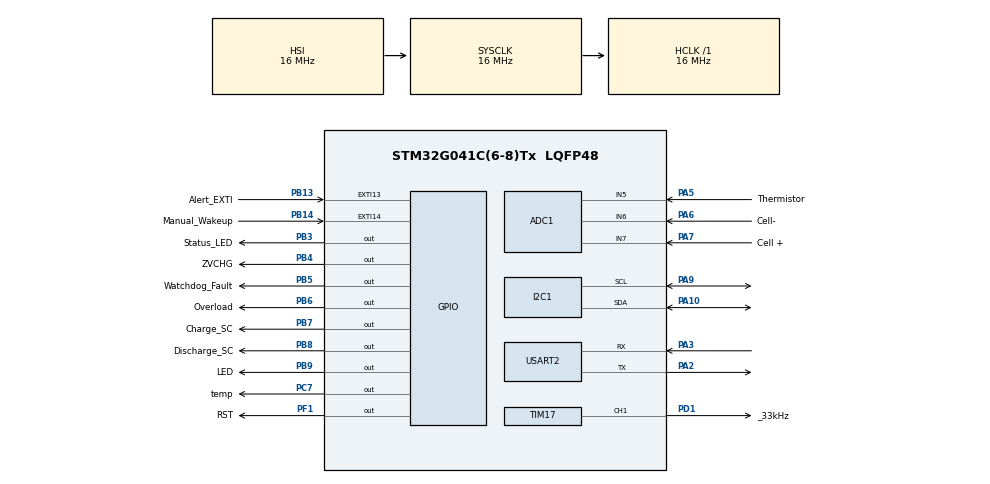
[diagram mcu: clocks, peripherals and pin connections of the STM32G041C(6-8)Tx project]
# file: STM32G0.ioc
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ADC1.Channel-3\#ChannelRegularConversion=ADC_CHANNEL_5
ADC1.Channel-4\#ChannelRegularConversion=ADC_CHANNEL_6
ADC1.Channel-5\#ChannelRegularConversion=ADC_CHANNEL_7
ADC1.NbrOfConversion=3
ADC1.NbrOfConversionFlag=1
ADC1.Rank-3\#ChannelRegularConversion=1
ADC1.Rank-4\#ChannelRegularConversion=2
ADC1.Rank-5\#ChannelRegularConversion=3
ADC1.SamplingTime-3\#ChannelRegularConversion=ADC_SAMPLINGTIME_COMMON_1
ADC1.SamplingTime-4\#ChannelRegularConversion=ADC_SAMPLINGTIME_COMMON_1
ADC1.SamplingTime-5\#ChannelRegularConversion=ADC_SAMPLINGTIME_COMMON_1
ADC1.SelectedChannel=ADC_CHANNEL_5|ADC_CHANNEL_6|ADC_CHANNEL_7
ADC1.master=1
Dma.ADC1.0.Direction=DMA_PERIPH_TO_MEMORY
Dma.ADC1.0.EventEnable=DISABLE
Dma.ADC1.0.Instance=DMA1_Channel1
Dma.ADC1.0.MemDataAlignment=DMA_MDATAALIGN_HALFWORD
Dma.ADC1.0.MemInc=DMA_MINC_ENABLE
Dma.ADC1.0.Mode=DMA_NORMAL
Dma.ADC1.0.PeriphDataAlignment=DMA_PDATAALIGN_HALFWORD
Dma.ADC1.0.PeriphInc=DMA_PINC_DISABLE
Dma.ADC1.0.Polarity=HAL_DMAMUX_REQ_GEN_RISING
Dma.ADC1.0.Priority=DMA_PRIORITY_LOW
Dma.ADC1.0.RequestNumber=1
Dma.ADC1.0.SignalID=NONE
Dma.ADC1.0.SyncEnable=DISABLE
Dma.ADC1.0.SyncPolarity=HAL_DMAMUX_SYNC_NO_EVENT
Dma.ADC1.0.SyncRequestNumber=1
Dma.ADC1.0.SyncSignalID=NONE
Dma.Request0=ADC1
I2C1.Timing=0x00503D58
Mcu.Family=STM32G0
Mcu.Name=STM32G041C(6-8)Tx
Mcu.Package=LQFP48
NVIC.DMA1_Channel1_IRQn=true\:0\:0\:false\:false\:true\:false\:true\:true
NVIC.EXTI4_15_IRQn=true\:0\:0\:false\:false\:true\:true\:true\:true
PA10.Mode=SMBus-two-wire-Interface
PA10.Signal=I2C1_SDA
PA2.Mode=Asynchronous
PA2.Signal=USART2_TX
PA3.Mode=Asynchronous
PA3.Signal=USART2_RX
PA5.GPIO_Label=Thermistor
PA5.Mode=IN5
PA5.Signal=ADC1_IN5
PA6.GPIO_Label=Cell-
PA6.Mode=IN6
PA6.Signal=ADC1_IN6
PA7.GPIO_Label=Cell +
PA7.Mode=IN7
PA7.Signal=ADC1_IN7
PA9.Mode=SMBus-two-wire-Interface
PA9.Signal=I2C1_SCL
PB13.GPIO_Label=Alert_EXTI
PB13.GPIO_ModeDefaultEXTI=GPIO_MODE_IT_FALLING
PB13.Signal=GPXTI13
PB14.GPIO_Label=Manual_Wakeup
PB14.Signal=GPXTI14
PB3.GPIO_Label=Status_LED
PB3.Signal=GPIO_Output
PB4.GPIO_Label=ZVCHG
PB4.Signal=GPIO_Output
PB5.GPIO_Label=Watchdog_Fault
PB5.Signal=GPIO_Output
PB6.GPIO_Label=Overload
PB6.Signal=GPIO_Output
PB7.GPIO_Label=Charge_SC
PB7.Signal=GPIO_Output
PB8.GPIO_Label=Discharge_SC
PB8.Signal=GPIO_Output
PB9.GPIO_Label=LED
PB9.Signal=GPIO_Output
PC7.GPIO_Label=temp
PC7.Signal=GPIO_Output
PD1.GPIO_Label=_33kHz
PD1.Signal=S_TIM17_CH1
PF1-OSC_OUT\ (PF1).GPIO_Label=RST
PF1-OSC_OUT\ (PF1).Signal=GPIO_Output
ProjectManager.HeapSize=0x200
ProjectManager.StackSize=0x400
ProjectManager.TargetToolchain=STM32CubeIDE
RCC.AHBFreq_Value=16000000
RCC.CortexFreq_Value=16000000
RCC.EXTERNAL_CLOCK_VALUE=12288000
RCC.HCLKFreq_Value=16000000
RCC.HSE_VALUE=8000000
RCC.HSI_VALUE=16000000
RCC.LSE_VALUE=32768
RCC.SYSCLKFreq_VALUE=16000000
RCC.VCOOutputFreq_Value=128000000
SH.S_TIM17_CH1.0=TIM17_CH1,PWM Generation1 CH1
TIM17.Channel=TIM_CHANNEL_1
TIM17.Period=1938
USART2.VirtualMode-Asynchronous=VM_ASYNC
VP_TIM17_VS_ClockSourceINT.Mode=Enable_Timer
board=custom

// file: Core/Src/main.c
/* USER CODE BEGIN Header */
/**
  ******************************************************************************
  * @file           : main.c
  * @brief          : Main program body
  ******************************************************************************
  * @attention
  *
  * Copyright (c) 2024 STMicroelectronics.
  * All rights reserved.
  *
  * This software is licensed under terms that can be found in the LICENSE file
  * in the root directory of this software component.
  * If no LICENSE file comes with this software, it is provided AS-IS.
  *
  ******************************************************************************
  */
/* USER CODE END Header */
#include "main.h"

/* USER CODE BEGIN Includes */
#include <stdio.h>
#include <string.h>
/* USER CODE END Includes */

ADC_HandleTypeDef hadc1;
DMA_HandleTypeDef hdma_adc1;

SMBUS_HandleTypeDef hsmbus1;

TIM_HandleTypeDef htim17;

UART_HandleTypeDef huart2;

void SystemClock_Config(void);
static void MX_GPIO_Init(void);
static void MX_DMA_Init(void);
static void MX_ADC1_Init(void);
static void MX_I2C1_SMBUS_Init(void);
static void MX_TIM17_Init(void);
static void MX_USART2_UART_Init(void);

/* USER CODE BEGIN 0 */
volatile uint16_t     adcResultsDMA[3];
const int adcChannelCount = sizeof(adcResultsDMA) / sizeof(adcResultsDMA[0]);
volatile int adcConversionComplete = 1;
/* USER CODE END 0 */

int main(void)
{

  /* MCU Configuration--------------------------------------------------------*/

  /* Reset of all peripherals, Initializes the Flash interface and the Systick. */
  HAL_Init();

  /* Configure the system clock */
  SystemClock_Config();

  /* Initialize all configured peripherals */
  MX_GPIO_Init();
  MX_DMA_Init();
  MX_ADC1_Init();
  MX_I2C1_SMBUS_Init();
  MX_TIM17_Init();
  MX_USART2_UART_Init();
  /* USER CODE BEGIN 2 */
  HAL_GPIO_WritePin(GPIOB, LED_Pin, 0);
  HAL_TIM_PWM_Start(&htim17, TIM_CHANNEL_1); // hopefully starts the 33kHz clock
  HAL_GPIO_WritePin(GPIOC, temp_Pin, 1);
  // Transmit a message
  char message[60];
  sprintf(message, "Startup\r\n");
  HAL_UART_Transmit(&huart2, (uint8_t*) message, strlen(message), HAL_MAX_DELAY);

  /* USER CODE END 2 */

  /* Infinite loop */
  /* USER CODE BEGIN WHILE */
  while (1)
  {
	  HAL_ADC_Start_DMA(&hadc1, (uint32_t*) adcResultsDMA, adcChannelCount); // this is an interrupt;
	  // Transmit a message

    /* USER CODE END WHILE */

  }
}

void SystemClock_Config(void)
{
  RCC_OscInitTypeDef RCC_OscInitStruct = {0};
  RCC_ClkInitTypeDef RCC_ClkInitStruct = {0};

  /** Configure the main internal regulator output voltage
  */
  HAL_PWREx_ControlVoltageScaling(PWR_REGULATOR_VOLTAGE_SCALE1);

  /** Initializes the RCC Oscillators according to the specified parameters
  * in the RCC_OscInitTypeDef structure.
  */
  RCC_OscInitStruct.OscillatorType = RCC_OSCILLATORTYPE_HSI;
  RCC_OscInitStruct.HSIState = RCC_HSI_ON;
  RCC_OscInitStruct.HSIDiv = RCC_HSI_DIV1;
  RCC_OscInitStruct.HSICalibrationValue = RCC_HSICALIBRATION_DEFAULT;
  RCC_OscInitStruct.PLL.PLLState = RCC_PLL_NONE;
  if (HAL_RCC_OscConfig(&RCC_OscInitStruct) != HAL_OK)
  {
    Error_Handler();
  }

  /** Initializes the CPU, AHB and APB buses clocks
  */
  RCC_ClkInitStruct.ClockType = RCC_CLOCKTYPE_HCLK|RCC_CLOCKTYPE_SYSCLK
                              |RCC_CLOCKTYPE_PCLK1;
  RCC_ClkInitStruct.SYSCLKSource = RCC_SYSCLKSOURCE_HSI;
  RCC_ClkInitStruct.AHBCLKDivider = RCC_SYSCLK_DIV1;
  RCC_ClkInitStruct.APB1CLKDivider = RCC_HCLK_DIV1;

  if (HAL_RCC_ClockConfig(&RCC_ClkInitStruct, FLASH_LATENCY_0) != HAL_OK)
  {
    Error_Handler();
  }
}

static void MX_ADC1_Init(void)
{

  ADC_ChannelConfTypeDef sConfig = {0};

  /** Configure the global features of the ADC (Clock, Resolution, Data Alignment and number of conversion)
  */
  hadc1.Instance = ADC1;
  hadc1.Init.ClockPrescaler = ADC_CLOCK_SYNC_PCLK_DIV2;
  hadc1.Init.Resolution = ADC_RESOLUTION_12B;
  hadc1.Init.DataAlign = ADC_DATAALIGN_RIGHT;
  hadc1.Init.ScanConvMode = ADC_SCAN_ENABLE;
  hadc1.Init.EOCSelection = ADC_EOC_SINGLE_CONV;
  hadc1.Init.LowPowerAutoWait = DISABLE;
  hadc1.Init.LowPowerAutoPowerOff = DISABLE;
  hadc1.Init.ContinuousConvMode = DISABLE;
  hadc1.Init.NbrOfConversion = 3;
  hadc1.Init.DiscontinuousConvMode = DISABLE;
  hadc1.Init.ExternalTrigConv = ADC_SOFTWARE_START;
  hadc1.Init.ExternalTrigConvEdge = ADC_EXTERNALTRIGCONVEDGE_NONE;
  hadc1.Init.DMAContinuousRequests = DISABLE;
  hadc1.Init.Overrun = ADC_OVR_DATA_PRESERVED;
  hadc1.Init.SamplingTimeCommon1 = ADC_SAMPLETIME_1CYCLE_5;
  hadc1.Init.SamplingTimeCommon2 = ADC_SAMPLETIME_1CYCLE_5;
  hadc1.Init.OversamplingMode = DISABLE;
  hadc1.Init.TriggerFrequencyMode = ADC_TRIGGER_FREQ_HIGH;
  if (HAL_ADC_Init(&hadc1) != HAL_OK)
  {
    Error_Handler();
  }

  /** Configure Regular Channel
  */
  sConfig.Channel = ADC_CHANNEL_5;
  sConfig.Rank = ADC_REGULAR_RANK_1;
  sConfig.SamplingTime = ADC_SAMPLINGTIME_COMMON_1;
  if (HAL_ADC_ConfigChannel(&hadc1, &sConfig) != HAL_OK)
  {
    Error_Handler();
  }

  /** Configure Regular Channel
  */
  sConfig.Channel = ADC_CHANNEL_6;
  sConfig.Rank = ADC_REGULAR_RANK_2;
  if (HAL_ADC_ConfigChannel(&hadc1, &sConfig) != HAL_OK)
  {
    Error_Handler();
  }

  /** Configure Regular Channel
  */
  sConfig.Channel = ADC_CHANNEL_7;
  sConfig.Rank = ADC_REGULAR_RANK_3;
  if (HAL_ADC_ConfigChannel(&hadc1, &sConfig) != HAL_OK)
  {
    Error_Handler();
  }

}

static void MX_I2C1_SMBUS_Init(void)
{

  hsmbus1.Instance = I2C1;
  hsmbus1.Init.Timing = 0x00503D58;
  hsmbus1.Init.AnalogFilter = SMBUS_ANALOGFILTER_ENABLE;
  hsmbus1.Init.OwnAddress1 = 2;
  hsmbus1.Init.AddressingMode = SMBUS_ADDRESSINGMODE_7BIT;
  hsmbus1.Init.DualAddressMode = SMBUS_DUALADDRESS_DISABLE;
  hsmbus1.Init.OwnAddress2 = 0;
  hsmbus1.Init.OwnAddress2Masks = SMBUS_OA2_NOMASK;
  hsmbus1.Init.GeneralCallMode = SMBUS_GENERALCALL_DISABLE;
  hsmbus1.Init.NoStretchMode = SMBUS_NOSTRETCH_DISABLE;
  hsmbus1.Init.PacketErrorCheckMode = SMBUS_PEC_DISABLE;
  hsmbus1.Init.PeripheralMode = SMBUS_PERIPHERAL_MODE_SMBUS_SLAVE;
  hsmbus1.Init.SMBusTimeout = 0x000080C3;
  if (HAL_SMBUS_Init(&hsmbus1) != HAL_OK)
  {
    Error_Handler();
  }

  /** Configure Digital filter
  */
  if (HAL_SMBUS_ConfigDigitalFilter(&hsmbus1, 0) != HAL_OK)
  {
    Error_Handler();
  }

}

static void MX_TIM17_Init(void)
{

  TIM_OC_InitTypeDef sConfigOC = {0};
  TIM_BreakDeadTimeConfigTypeDef sBreakDeadTimeConfig = {0};

  htim17.Instance = TIM17;
  htim17.Init.Prescaler = 0;
  htim17.Init.CounterMode = TIM_COUNTERMODE_UP;
  htim17.Init.Period = 1938;
  htim17.Init.ClockDivision = TIM_CLOCKDIVISION_DIV1;
  htim17.Init.RepetitionCounter = 0;
  htim17.Init.AutoReloadPreload = TIM_AUTORELOAD_PRELOAD_DISABLE;
  if (HAL_TIM_Base_Init(&htim17) != HAL_OK)
  {
    Error_Handler();
  }
  if (HAL_TIM_PWM_Init(&htim17) != HAL_OK)
  {
    Error_Handler();
  }
  sConfigOC.OCMode = TIM_OCMODE_PWM1;
  sConfigOC.Pulse = 0;
  sConfigOC.OCPolarity = TIM_OCPOLARITY_HIGH;
  sConfigOC.OCNPolarity = TIM_OCNPOLARITY_HIGH;
  sConfigOC.OCFastMode = TIM_OCFAST_DISABLE;
  sConfigOC.OCIdleState = TIM_OCIDLESTATE_RESET;
  sConfigOC.OCNIdleState = TIM_OCNIDLESTATE_RESET;
  if (HAL_TIM_PWM_ConfigChannel(&htim17, &sConfigOC, TIM_CHANNEL_1) != HAL_OK)
  {
    Error_Handler();
  }
  sBreakDeadTimeConfig.OffStateRunMode = TIM_OSSR_DISABLE;
  sBreakDeadTimeConfig.OffStateIDLEMode = TIM_OSSI_DISABLE;
  sBreakDeadTimeConfig.LockLevel = TIM_LOCKLEVEL_OFF;
  sBreakDeadTimeConfig.DeadTime = 0;
  sBreakDeadTimeConfig.BreakState = TIM_BREAK_DISABLE;
  sBreakDeadTimeConfig.BreakPolarity = TIM_BREAKPOLARITY_HIGH;
  sBreakDeadTimeConfig.BreakFilter = 0;
  sBreakDeadTimeConfig.AutomaticOutput = TIM_AUTOMATICOUTPUT_DISABLE;
  if (HAL_TIMEx_ConfigBreakDeadTime(&htim17, &sBreakDeadTimeConfig) != HAL_OK)
  {
    Error_Handler();
  }
  HAL_TIM_MspPostInit(&htim17);

}

static void MX_USART2_UART_Init(void)
{

  huart2.Instance = USART2;
  huart2.Init.BaudRate = 115200;
  huart2.Init.WordLength = UART_WORDLENGTH_8B;
  huart2.Init.StopBits = UART_STOPBITS_1;
  huart2.Init.Parity = UART_PARITY_NONE;
  huart2.Init.Mode = UART_MODE_TX_RX;
  huart2.Init.HwFlowCtl = UART_HWCONTROL_NONE;
  huart2.Init.OverSampling = UART_OVERSAMPLING_16;
  huart2.Init.OneBitSampling = UART_ONE_BIT_SAMPLE_DISABLE;
  huart2.Init.ClockPrescaler = UART_PRESCALER_DIV1;
  huart2.AdvancedInit.AdvFeatureInit = UART_ADVFEATURE_NO_INIT;
  if (HAL_UART_Init(&huart2) != HAL_OK)
  {
    Error_Handler();
  }

}

static void MX_DMA_Init(void)
{

  /* DMA controller clock enable */
  __HAL_RCC_DMA1_CLK_ENABLE();

  /* DMA interrupt init */
  /* DMA1_Channel1_IRQn interrupt configuration */
  HAL_NVIC_SetPriority(DMA1_Channel1_IRQn, 0, 0);
  HAL_NVIC_EnableIRQ(DMA1_Channel1_IRQn);

}

static void MX_GPIO_Init(void)
{
  GPIO_InitTypeDef GPIO_InitStruct = {0};

  /* GPIO Ports Clock Enable */
  __HAL_RCC_GPIOF_CLK_ENABLE();
  __HAL_RCC_GPIOA_CLK_ENABLE();
  __HAL_RCC_GPIOB_CLK_ENABLE();
  __HAL_RCC_GPIOC_CLK_ENABLE();
  __HAL_RCC_GPIOD_CLK_ENABLE();

  /*Configure GPIO pin Output Level */
  HAL_GPIO_WritePin(RST_GPIO_Port, RST_Pin, GPIO_PIN_RESET);

  /*Configure GPIO pin Output Level */
  HAL_GPIO_WritePin(temp_GPIO_Port, temp_Pin, GPIO_PIN_RESET);

  /*Configure GPIO pin Output Level */
  HAL_GPIO_WritePin(GPIOB, Status_LED_Pin|ZVCHG_Pin|Watchdog_Fault_Pin|Overload_Pin
                          |Charge_SC_Pin|Discharge_SC_Pin|LED_Pin, GPIO_PIN_RESET);

  /*Configure GPIO pin : RST_Pin */
  GPIO_InitStruct.Pin = RST_Pin;
  GPIO_InitStruct.Mode = GPIO_MODE_OUTPUT_PP;
  GPIO_InitStruct.Pull = GPIO_NOPULL;
  GPIO_InitStruct.Speed = GPIO_SPEED_FREQ_LOW;
  HAL_GPIO_Init(RST_GPIO_Port, &GPIO_InitStruct);

  /*Configure GPIO pin : Alert_EXTI_Pin */
  GPIO_InitStruct.Pin = Alert_EXTI_Pin;
  GPIO_InitStruct.Mode = GPIO_MODE_IT_FALLING;
  GPIO_InitStruct.Pull = GPIO_NOPULL;
  HAL_GPIO_Init(Alert_EXTI_GPIO_Port, &GPIO_InitStruct);

  /*Configure GPIO pin : Manual_Wakeup_Pin */
  GPIO_InitStruct.Pin = Manual_Wakeup_Pin;
  GPIO_InitStruct.Mode = GPIO_MODE_IT_RISING;
  GPIO_InitStruct.Pull = GPIO_NOPULL;
  HAL_GPIO_Init(Manual_Wakeup_GPIO_Port, &GPIO_InitStruct);

  /*Configure GPIO pin : temp_Pin */
  GPIO_InitStruct.Pin = temp_Pin;
  GPIO_InitStruct.Mode = GPIO_MODE_OUTPUT_PP;
  GPIO_InitStruct.Pull = GPIO_NOPULL;
  GPIO_InitStruct.Speed = GPIO_SPEED_FREQ_LOW;
  HAL_GPIO_Init(temp_GPIO_Port, &GPIO_InitStruct);

  /*Configure GPIO pins : Status_LED_Pin ZVCHG_Pin Watchdog_Fault_Pin Overload_Pin
                           Charge_SC_Pin Discharge_SC_Pin LED_Pin */
  GPIO_InitStruct.Pin = Status_LED_Pin|ZVCHG_Pin|Watchdog_Fault_Pin|Overload_Pin
                          |Charge_SC_Pin|Discharge_SC_Pin|LED_Pin;
  GPIO_InitStruct.Mode = GPIO_MODE_OUTPUT_PP;
  GPIO_InitStruct.Pull = GPIO_NOPULL;
  GPIO_InitStruct.Speed = GPIO_SPEED_FREQ_LOW;
  HAL_GPIO_Init(GPIOB, &GPIO_InitStruct);

  /* EXTI interrupt init*/
  HAL_NVIC_SetPriority(EXTI4_15_IRQn, 0, 0);
  HAL_NVIC_EnableIRQ(EXTI4_15_IRQn);

}

/* USER CODE BEGIN 4 */
void HAL_ADC_ConvCpltCallback(ADC_HandleTypeDef* hadc){
	HAL_ADC_Start_DMA(&hadc1, (uint32_t*) adcResultsDMA, adcChannelCount);
}

int counter = 0;

void HAL_GPIO_EXTI_Falling_Callback(uint16_t GPIO_Pin){
	  if(GPIO_Pin == Alert_EXTI_Pin) {
		  char m[60];
		  sprintf(m, "Interrupt: %d\r\n", counter);
		  HAL_UART_Transmit(&huart2, (uint8_t*) m, strlen(m), HAL_MAX_DELAY);
		  counter+=1;
	  } else {
	      __NOP();
	  }
}
/* USER CODE END 4 */

void Error_Handler(void)
{
  __disable_irq();
  while (1)
  {
  }
}
